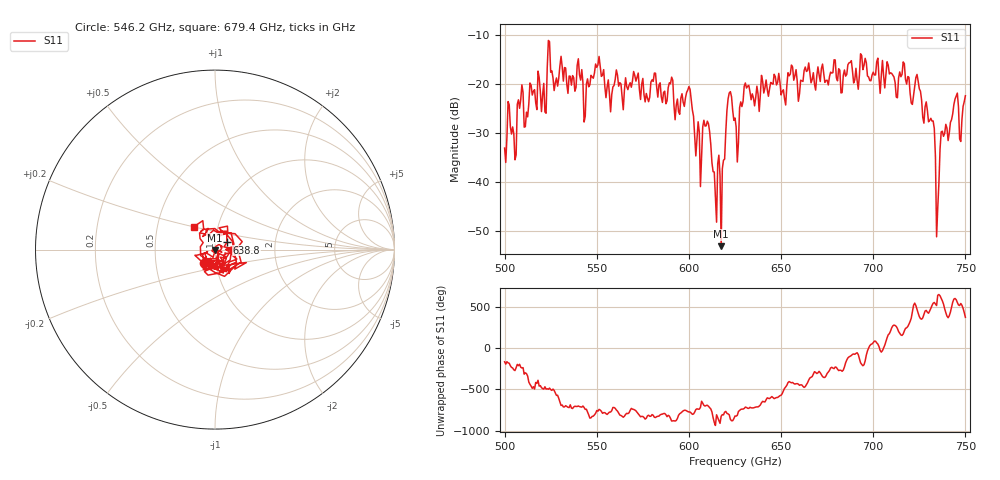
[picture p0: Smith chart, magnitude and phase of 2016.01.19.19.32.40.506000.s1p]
!Created with skrf (http://scikit-rf.org).
# GHz S RI R 50.0
!freq ReS11 ImS11
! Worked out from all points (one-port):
!   401 points, 500 GHz to 750 GHz, reference 50 ohm
!   lowest |S11| = -53.1 dB at 617.5 GHz (marker M1), VSWR 1.00, Z = 49.9 - j0.212 ohm
!   |S11| at or under -10 dB: start of sweep to end of sweep
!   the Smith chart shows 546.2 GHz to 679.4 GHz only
!   S11 on the Smith chart (normalised r, x): 546.2 GHz: 0.88, -0.13; 638.8 GHz: 1.14, +0.09; 679.4 GHz: 0.77, +0.20
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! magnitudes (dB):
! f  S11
! 500 GHz  -33.2
! 508.8 GHz  -23.3
! 511.9 GHz  -25.8
! 515 GHz  -22.3
! 521.2 GHz  -20.0
! 524.4 GHz  -11.5
! 531.2 GHz  -16.6
! 546.2 GHz  -20.3
! 562.5 GHz  -19.8
! 590 GHz  -20.1
! 593.8 GHz  -23.2
! 600 GHz  -20.6
! 605 GHz  -27.8
! 609.4 GHz  -28.6
! 613.8 GHz  -38.0
! 617.5 GHz  -53.1
! 621.9 GHz  -21.9
! 625 GHz  -27.0
! 631.2 GHz  -20.9
! 638.8 GHz  -22.3
! 656.2 GHz  -16.6
! 679.4 GHz  -15.2
! 687.5 GHz  -15.7
! 718.8 GHz  -18.6
! 731.9 GHz  -27.6
! 735 GHz  -45.4
! 738.1 GHz  -30.8
! 750 GHz  -22.5
